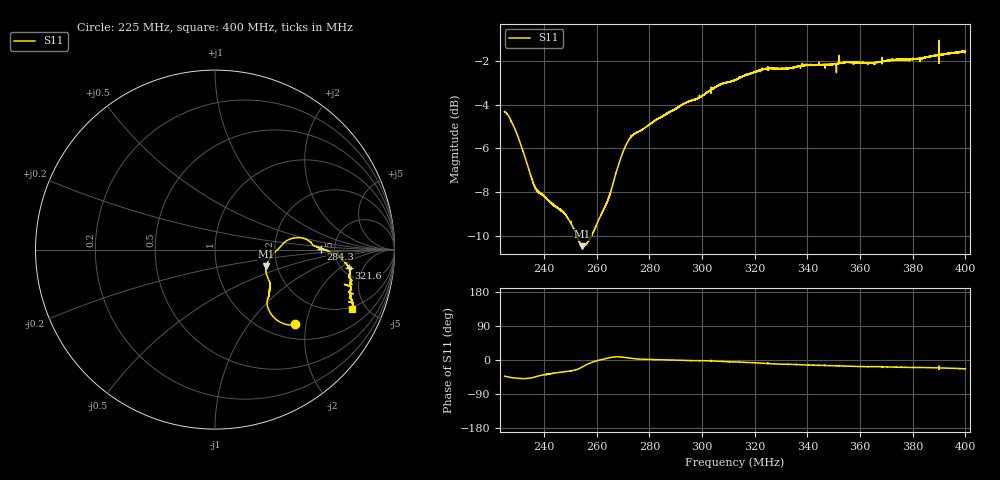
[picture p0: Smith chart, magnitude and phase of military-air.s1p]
! Calibrated averaged scanner-service zoom
# Hz S RI R 50
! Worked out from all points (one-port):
!   10001 points, 225 MHz to 400 MHz, reference 50 ohm
!   lowest |S11| = -10.5 dB at 254.5 MHz (marker M1), VSWR 1.86, Z = 87.4 - j18.1 ohm
!   |S11| at or under -10 dB: 252.5 MHz to 257.9 MHz (5.457 MHz wide, 2.14 % of centre); 257.9261 MHz to 257.9437 MHz (17.61 kHz wide, 0.00683 % of centre)
!   S11 on the Smith chart (normalised r, x): 225 MHz: 1.32, -1.73; 284.3 MHz: 3.89, +0.07; 321.6 MHz: 5.76, -2.80; 400 MHz: 1.87, -4.05
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2.25e8  0.4471 -0.4125
2.27135e8  0.4077 -0.419
2.2955e8  0.3632 -0.4042
2.323325e8  0.3188 -0.3674
2.348175e8  0.2938 -0.3225
2.36515e8  0.2907 -0.2881
2.3816e8  0.2979 -0.2625
2.46875e8  0.3075 -0.1893
2.5125e8  0.2918 -0.1502
2.544525e8  0.2847 -0.0941
2.572175e8  0.3068 -0.0473
2.634125e8  0.3715 0.0235
2.6637e8  0.4168 0.0581
2.6875e8  0.4647 0.0666
2.710775e8  0.5064 0.0581
2.7344e8  0.5345 0.0393
2.761e8  0.5474 0.023
2.84325e8  0.5908 0.00584
2.90625e8  0.6211 -0.00441
3.02455e8  0.6776 -0.0253
3.125e8  0.7141 -0.0637
3.216175e8  0.7475 -0.1046
3.27515e8  0.7501 -0.1382
3.34375e8  0.7497 -0.1552
3.5625e8  0.7541 -0.224
3.78125e8  0.7536 -0.2676
3.8677e8  0.763 -0.2816
4e8  0.7672 -0.3285
